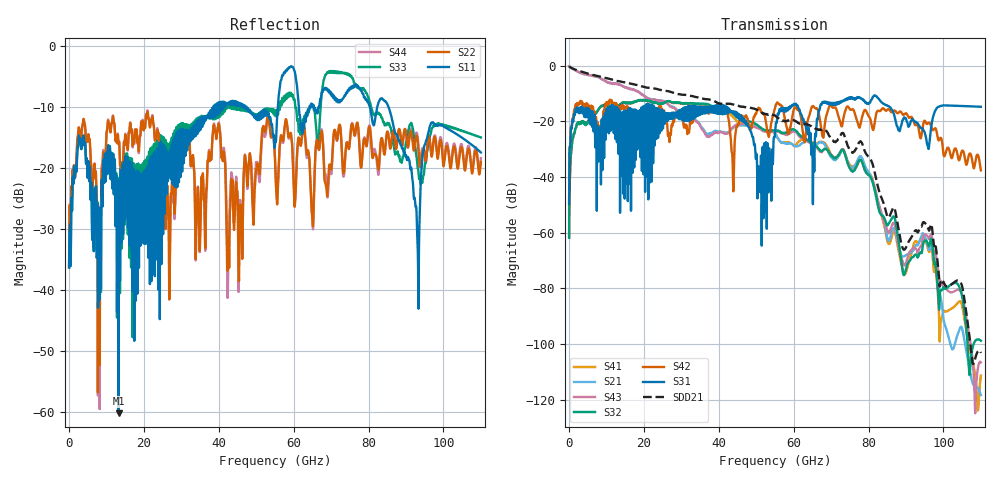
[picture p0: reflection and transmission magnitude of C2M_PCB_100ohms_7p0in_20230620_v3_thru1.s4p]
! Info: Touchstone file created by Circ.  Input file=C2M_PCB_100ohms_7p0in_20230620_v3.circ
# Hz S RI R 50
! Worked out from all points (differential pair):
!   11000 points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, 10 MHz to 110 GHz, reference 50 ohm
!   strongest paths, dB at 10 MHz, 27.51 GHz, 55.01 GHz, 82.51 GHz, 110 GHz:
!     S31: -49.7, -16.9, -24.2, -11.6, -14.7
!     S42: -49.7, -21.5, -15.2, -16.1, -37.6
!     S32: -61.8, -13.2, -23.2, -50.4, -98.9
!     S43: -0.1, -14.9, -23.6, -48.5, -106.7
!     S21: -0.1, -14.6, -24.2, -50.3, -118.4
!     S41: -61.8, -13.4, -24.4, -49.2, -111.4
!   taken as a pair (ports 3,1 in; 4,2 out), SDD21 dB: -0.1, -9.6, -17.9, -43.6, -103.2
!   lowest |S11| = -60.3 dB at 13.22 GHz (marker M1), VSWR 1.00, Z = 49.9 + j0.0353 ohm
!   |S11| at or under -10 dB: start of sweep to 38.61 GHz; 47.38 GHz to 55.8 GHz (8.427 GHz wide, 16.3 % of centre); 85.26 GHz to end of sweep (the widest 3 of 18)
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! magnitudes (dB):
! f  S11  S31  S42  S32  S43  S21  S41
! 10 MHz  -36.4  -49.7  -49.7  -61.8  -0.1  -0.1  -61.8
! 2.07 GHz  -18.9  -15.3  -13.6  -20.8  -1.9  -1.9  -20.8
! 13.22 GHz  -60.3  -30.0  -16.4  -14.2  -6.6  -6.6  -14.2
! 50.69 GHz  -11.5  -41.4  -15.2  -21.8  -22.5  -22.3  -22.4
! 77.9 GHz  -7.3  -11.5  -20.7  -33.8  -33.9  -32.5  -32.6
! 89.49 GHz  -17.4  -18.6  -17.5  -75.2  -71.7  -68.5  -74.8
! 110 GHz  -17.5  -14.7  -37.6  -98.9  -106.7  -118.4  -111.4
